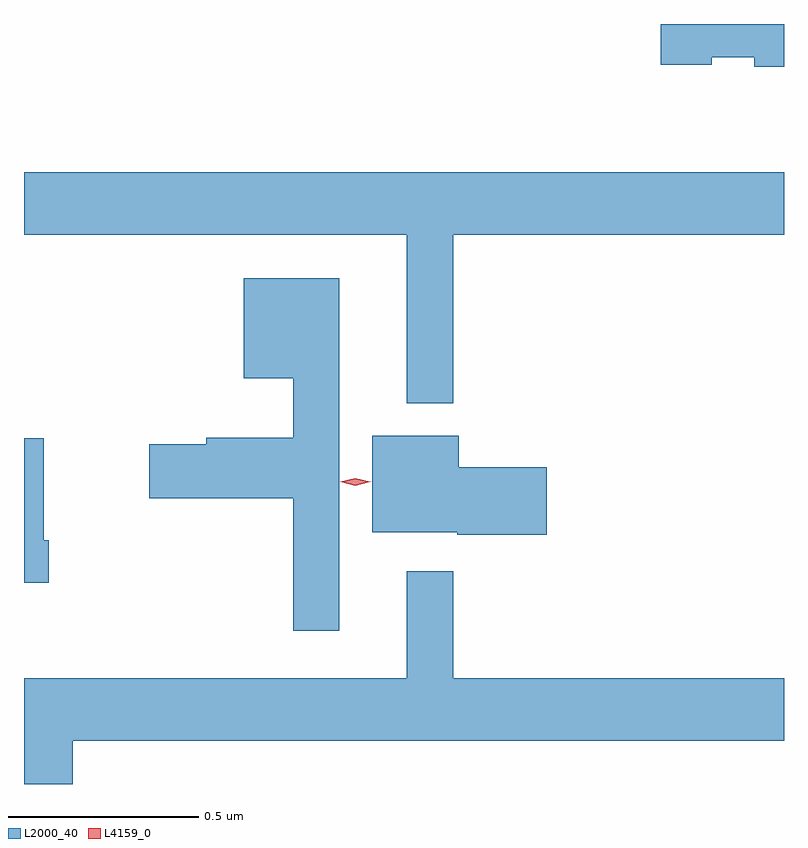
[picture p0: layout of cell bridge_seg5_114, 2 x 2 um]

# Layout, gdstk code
import gdstk
lib = gdstk.Library(unit=1e-6, precision=1e-09)
def P(c, l, *ps):  # polygons
    for p in ps: c.add(gdstk.Polygon(p, *l))
L2000_40 = (2000, 40)
L4159_0 = (4159, 0)

bridge_seg5_114 = lib.new_cell('bridge_seg5_114')
P(bridge_seg5_114, L2000_40, [(484.466,885.286),(484.142,885.286),(484.142,885.179),(484.276,885.179),(484.276,885.198),(484.388,885.198),(484.388,885.173),(484.466,885.173)],
  [(483.595,884.732),(484.466,884.732),(484.466,884.896),(482.466,884.896),(482.466,884.732),(483.473,884.732),(483.473,884.288),(483.595,884.288)],
  [(483.295,884.617),(483.044,884.617),(483.044,884.354),(483.174,884.354),(483.174,884.197),(482.945,884.197),(482.945,884.18),(482.796,884.18),(482.796,884.038),(483.174,884.038),(483.174,883.689),(483.295,883.689)],
  [(483.841,884.12),(483.61,884.12),(483.61,884.203),(483.383,884.203),(483.383,883.949),(483.606,883.949),(483.606,883.942),(483.841,883.942)],
  [(482.531,883.927),(482.518,883.927),(482.518,884.196),(482.466,884.196),(482.466,883.815),(482.531,883.815)],
  [(482.594,883.4),(484.466,883.4),(484.466,883.564),(483.595,883.564),(483.595,883.846),(483.473,883.846),(483.473,883.564),(482.466,883.564),(482.466,883.286),(482.594,883.286)])
P(bridge_seg5_114, L4159_0, [(483.338,884.071),(483.298,884.082),(483.298,884.082),(483.298,884.082),(483.338,884.091),(483.377,884.081),(483.378,884.081),(483.377,884.081)])

lib.write_gds('bridge_seg5_114.gds')
